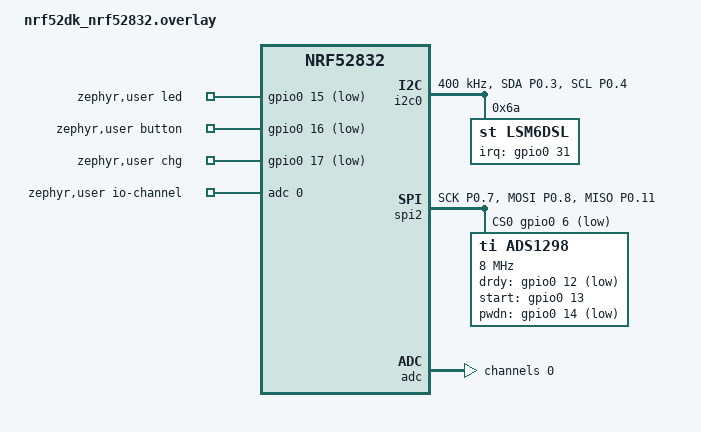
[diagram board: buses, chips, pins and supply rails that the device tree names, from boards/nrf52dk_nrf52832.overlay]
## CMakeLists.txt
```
# neurband rev C firmware: nRF52832-QFAA + one ADS1298, BLE streaming. See docs/firmware_c.md.
#   west build -b nrf52dk/nrf52832 firmware_c        (boards/nrf52dk_nrf52832.overlay is applied automatically)
cmake_minimum_required(VERSION 3.20.0)

# The DK board definition turns on the nRF52 DC/DC regulator. Rev C has no DCC inductor and
# must stay in LDO mode. Zephyr >= 4.0 does that in devicetree (overlay, &reg). Zephyr 3.7
# (NCS 2.x) uses Kconfig instead, so add zephyr37.conf there. west exports ZEPHYR_BASE.
if(EXISTS "$ENV{ZEPHYR_BASE}/VERSION")
  file(STRINGS "$ENV{ZEPHYR_BASE}/VERSION" _zmajor REGEX "^VERSION_MAJOR")
  if(_zmajor MATCHES "= *3$")
    list(APPEND EXTRA_CONF_FILE ${CMAKE_CURRENT_LIST_DIR}/zephyr37.conf)
  endif()
  # nRF Connect SDK: SoftDevice Controller throughput settings (symbols don't exist upstream)
  if(EXISTS "$ENV{ZEPHYR_BASE}/../nrf/subsys/bluetooth/controller/Kconfig")
    list(APPEND EXTRA_CONF_FILE ${CMAKE_CURRENT_LIST_DIR}/sdc.conf)
  endif()
endif()

find_package(Zephyr REQUIRED HINTS $ENV{ZEPHYR_BASE})
project(neurband_c)

target_sources(app PRIVATE src/main.c src/ble.c src/acq.c src/ads1298.c src/dsp.c src/imu.c)
```

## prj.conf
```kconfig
# neurband rev C. Works on upstream Zephyr (>= 3.7) and nRF Connect SDK (>= 2.7).

# ---- drivers / kernel
CONFIG_GPIO=y
CONFIG_SPI=y
CONFIG_ADC=y
CONFIG_I2C=y
# LSM6DSL is driven by src/imu.c; keep Zephyr's sensor driver from claiming it
CONFIG_LSM6DSL=n
CONFIG_FPU=y
CONFIG_FPU_SHARING=y
CONFIG_POWEROFF=y
CONFIG_PM_DEVICE=y
CONFIG_MAIN_STACK_SIZE=2048
CONFIG_SYSTEM_WORKQUEUE_STACK_SIZE=1536

# ---- console/log over SEGGER RTT through the SWD probe. The board has no UART and the DK's
# UART pins (P0.06/P0.08) are SPI here.
CONFIG_SERIAL=n
CONFIG_UART_CONSOLE=n
CONFIG_CONSOLE=y
CONFIG_USE_SEGGER_RTT=y
CONFIG_RTT_CONSOLE=y
CONFIG_LOG=y
CONFIG_LOG_BACKEND_RTT=y

# ---- clocks: no 32.768 kHz crystal on the board -> calibrated LFRC (+-500 ppm sleep clock)
CONFIG_CLOCK_CONTROL_NRF_K32SRC_RC=y
CONFIG_CLOCK_CONTROL_NRF_K32SRC_500PPM=y

# ---- Bluetooth LE peripheral, high throughput (docs/firmware_c.md "Throughput budget")
CONFIG_BT=y
CONFIG_BT_PERIPHERAL=y
CONFIG_BT_DEVICE_NAME="neurband"
CONFIG_BT_MAX_CONN=1
CONFIG_BT_GATT_CLIENT=y
CONFIG_BT_USER_PHY_UPDATE=y
CONFIG_BT_USER_DATA_LEN_UPDATE=y
CONFIG_BT_CTLR_PHY_2M=y
CONFIG_BT_CTLR_DATA_LENGTH_MAX=251
CONFIG_BT_BUF_ACL_TX_SIZE=251
CONFIG_BT_BUF_ACL_RX_SIZE=251
CONFIG_BT_BUF_ACL_TX_COUNT=8
CONFIG_BT_L2CAP_TX_MTU=247
CONFIG_BT_CONN_TX_MAX=8
# connection interval 7.5-15 ms (units of 1.25 ms), no latency, 4 s supervision timeout
CONFIG_BT_PERIPHERAL_PREF_MIN_INT=6
CONFIG_BT_PERIPHERAL_PREF_MAX_INT=12
CONFIG_BT_PERIPHERAL_PREF_LATENCY=0
CONFIG_BT_PERIPHERAL_PREF_TIMEOUT=400
CONFIG_BT_GAP_AUTO_UPDATE_CONN_PARAMS=y
```

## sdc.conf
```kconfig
# nRF Connect SDK only (added by CMakeLists.txt when the SoftDevice Controller is present).
# More LL TX buffers and long connection events let several 251-byte PDUs go out per event.
CONFIG_BT_CTLR_SDC_TX_PACKET_COUNT=10
CONFIG_BT_CTLR_SDC_RX_PACKET_COUNT=3
CONFIG_BT_CTLR_SDC_MAX_CONN_EVENT_LEN_DEFAULT=7500
CONFIG_BT_CTLR_SDC_CONN_EVENT_EXTEND_DEFAULT=y
```

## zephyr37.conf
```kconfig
# Only for Zephyr 3.7 / NCS 2.x (added by CMakeLists.txt). Newer versions use devicetree for this.
# Rev C has no DCC inductor: DC/DC must stay off (the nrf52dk board enables it by default).
CONFIG_BOARD_ENABLE_DCDC=n
# SPIM (EasyDMA) on nRF52832. The driver never issues 1-byte transfers (PAN 58), see ads1298.c.
CONFIG_SOC_NRF52832_ALLOW_SPIM_DESPITE_PAN_58=y
```

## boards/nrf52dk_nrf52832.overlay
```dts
/*
 * neurband rev C on the nrf52dk/nrf52832 board definition. Same SoC (nRF52832-QFAA, 32 MHz
 * crystal); everything the DK wires differently is remapped or disabled here.
 * Pin source of truth: boards/neurband_c/gen_c_sch.py (GPIO = {...}).
 *
 * HFXO: the nRF52832 has no internal load capacitors. Y1 (8 pF CL) uses the external 12 pF
 * pair on the board, so nothing is set here. The BLE controller starts the HFXO for every
 * radio event. There is no 32.768 kHz crystal: prj.conf selects the calibrated LFRC.
 */
#include <zephyr/dt-bindings/adc/adc.h>
#include <zephyr/dt-bindings/adc/nrf-saadc.h>

/ {
	chosen {
		/delete-property/ zephyr,console;
		/delete-property/ zephyr,shell-uart;
		/delete-property/ zephyr,uart-mcumgr;
		/delete-property/ zephyr,bt-mon-uart;
		/delete-property/ zephyr,bt-c2h-uart;
	};

	/* The DK LEDs/buttons/PWM LED sit on our START, PWDN, LED, BUTTON and CHG_N pins. */
	aliases {
		/delete-property/ led0;
		/delete-property/ led1;
		/delete-property/ led2;
		/delete-property/ led3;
		/delete-property/ pwm-led0;
		/delete-property/ sw0;
		/delete-property/ sw1;
		/delete-property/ sw2;
		/delete-property/ sw3;
		/delete-property/ mcuboot-button0;
		/delete-property/ mcuboot-led0;
	};
	/delete-node/ leds;
	/delete-node/ pwmleds;
	/delete-node/ buttons;

	zephyr,user {
		led-gpios = <&gpio0 15 GPIO_ACTIVE_LOW>;		/* D1 from +3V3 via 1k into the pin */
		button-gpios = <&gpio0 16 (GPIO_PULL_UP | GPIO_ACTIVE_LOW)>;	/* SW1 to GND */
		chg-gpios = <&gpio0 17 (GPIO_PULL_UP | GPIO_ACTIVE_LOW)>;	/* TP4054 CHRG, open drain */
		io-channels = <&adc 0>;					/* VBAT/2 on AIN4 (P0.28, U1 pin 40) */
	};
};

#ifdef NRF5X_REG_MODE_LDO
/* Zephyr >= 4.0: no DCC inductor on rev C, keep the main regulator in LDO mode. */
&reg {
	regulator-initial-mode = <NRF5X_REG_MODE_LDO>;
};
#endif

&uart0 {
	status = "disabled";
};

/* IMU: ST LSM6DSL on TWI0 (SA0 low -> 0x6A, CS high = I2C mode). IMU pins live only here:
 * I2C_SDA P0.03, I2C_SCL P0.04 (kept off the near-radio pins P0.22-P0.24 bank), IMU_INT (INT1) P0.31. The app drives its registers directly;
 * CONFIG_LSM6DSL=n (prj.conf) keeps Zephyr's own lsm6dsl driver out. CONFIG_SENSOR itself is on:
 * the LFRC calibration selects it for the die temperature sensor (TEMP_NRF5). */
&i2c0 {
	compatible = "nordic,nrf-twi";
	status = "okay";
	clock-frequency = <I2C_BITRATE_FAST>;
	pinctrl-0 = <&i2c0_nb_default>;
	pinctrl-1 = <&i2c0_nb_sleep>;
	pinctrl-names = "default", "sleep";

	lsm6dsl: lsm6dsl@6a {
		compatible = "st,lsm6dsl";
		reg = <0x6a>;
		irq-gpios = <&gpio0 31 GPIO_ACTIVE_HIGH>;
	};
};

&spi1 {
	status = "disabled";
};

&pwm0 {
	status = "disabled";
};

&pinctrl {
	i2c0_nb_default: i2c0_nb_default {
		group1 {
			psels = <NRF_PSEL(TWIM_SDA, 0, 3)>,
				<NRF_PSEL(TWIM_SCL, 0, 4)>;
		};
	};

	i2c0_nb_sleep: i2c0_nb_sleep {
		group1 {
			psels = <NRF_PSEL(TWIM_SDA, 0, 3)>,
				<NRF_PSEL(TWIM_SCL, 0, 4)>;
			low-power-enable;
		};
	};

	spi2_nb_default: spi2_nb_default {
		group1 {
			psels = <NRF_PSEL(SPIM_SCK, 0, 7)>,
				<NRF_PSEL(SPIM_MOSI, 0, 8)>,
				<NRF_PSEL(SPIM_MISO, 0, 11)>;
		};
	};

	spi2_nb_sleep: spi2_nb_sleep {
		group1 {
			psels = <NRF_PSEL(SPIM_SCK, 0, 7)>,
				<NRF_PSEL(SPIM_MOSI, 0, 8)>,
				<NRF_PSEL(SPIM_MISO, 0, 11)>;
			low-power-enable;
		};
	};
};

/* SPIM2 (EasyDMA), mode 1. Register access runs at 1 MHz, frame reads at 8 MHz (ads1298.c). */
&spi2 {
	compatible = "nordic,nrf-spim";
	status = "okay";
	pinctrl-0 = <&spi2_nb_default>;
	pinctrl-1 = <&spi2_nb_sleep>;
	pinctrl-names = "default", "sleep";
	cs-gpios = <&gpio0 6 GPIO_ACTIVE_LOW>;

	ads1298: adc@0 {
		compatible = "ti,ads1298";
		reg = <0>;
		spi-max-frequency = <8000000>;
		drdy-gpios = <&gpio0 12 GPIO_ACTIVE_LOW>;
		start-gpios = <&gpio0 13 GPIO_ACTIVE_HIGH>;
		pwdn-gpios = <&gpio0 14 GPIO_ACTIVE_LOW>;
	};
};

/* Battery: VBAT/2 (1M/1M + 100 nF) on P0.28/AIN4. Gain 1/6 with the 0.6 V reference = 3.6 V
 * full scale; the 100 nF holds the node during the 40 us acquisition. */
&adc {
	#address-cells = <1>;
	#size-cells = <0>;
	status = "okay";

	channel@0 {
		reg = <0>;
		zephyr,gain = "ADC_GAIN_1_6";
		zephyr,reference = "ADC_REF_INTERNAL";
		zephyr,acquisition-time = <ADC_ACQ_TIME(ADC_ACQ_TIME_MICROSECONDS, 40)>;
		zephyr,input-positive = <NRF_SAADC_AIN4>;
		zephyr,resolution = <12>;
		zephyr,oversampling = <4>;
	};
};
```

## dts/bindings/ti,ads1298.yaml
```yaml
description: |
  TI ADS1298 8-channel 24-bit biopotential AFE on SPI (mode 1). The driver is part of the
  neurband application (src/ads1298.c); this binding only describes the pins.

compatible: "ti,ads1298"

include: spi-device.yaml

properties:
  drdy-gpios:
    type: phandle-array
    required: true
    description: DRDY output of the ADS1298 (active low, falls when a frame is ready).
  start-gpios:
    type: phandle-array
    required: true
    description: START input (active high, conversions run while high).
  pwdn-gpios:
    type: phandle-array
    required: true
    description: PWDN and RESET inputs (tied together on rev C), active low = power-down.
```

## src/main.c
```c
/* neurband rev C: control (commands, charger interlock, battery, LED, button, power).
 * Everything that touches the ADS outside streaming runs on one work queue (app_wq). */
#include <stdlib.h>
#include <string.h>
#include <zephyr/drivers/adc.h>
#include <zephyr/drivers/gpio.h>
#include <zephyr/kernel.h>
#include <zephyr/logging/log.h>
#include <zephyr/sys/poweroff.h>
#include <zephyr/sys/printk.h>

#include "ads1298.h"
#include "app.h"

LOG_MODULE_REGISTER(main, LOG_LEVEL_INF);

#define IDLE_OFF_S     (5 * 60) /* System OFF after 5 min not connected and not streaming */
#define LONG_PRESS_MS  3000     /* hold the button 3 s: System OFF */
#define VBAT_LOW_MV    3500     /* warn (LED, flag): the 3.3 V LDO is near dropout */
#define VBAT_CRIT_MV   3300     /* stop and power off after 3 readings in a row */

#define USER_NODE DT_PATH(zephyr_user)
static const struct gpio_dt_spec led = GPIO_DT_SPEC_GET(USER_NODE, led_gpios);
static const struct gpio_dt_spec button = GPIO_DT_SPEC_GET(USER_NODE, button_gpios);
static const struct gpio_dt_spec chg = GPIO_DT_SPEC_GET(USER_NODE, chg_gpios);
static const struct adc_dt_spec vbat_adc = ADC_DT_SPEC_GET(USER_NODE);

struct nb_cfg cfg = {
	.rate = 4000, .gain = 6, .fmt = FMT_I16, .hp_idx = 0, .mux = ADS_MUX_NORMAL,
	.leadoff = false, .rld_mask = 0x0F, /* channels 1-4 (P and N) = 8 sensed inputs: 57 deg phase margin with 1M||4.7nF (docs/science/simulations.md) */
};

static K_THREAD_STACK_DEFINE(app_wq_stack, 2048);
static struct k_work_q app_wq;
K_MSGQ_DEFINE(cmd_q, 40, 4, 1);

static volatile bool charging, low_bat, connected_flag;
static volatile uint16_t vbat_mv;
static int verify_err = -1, idle_s, crit_count;
static char last[24] = "boot";

bool app_charging(void) { return charging; }
bool app_low_battery(void) { return low_bat; }
uint16_t app_vbat_mv(void) { return vbat_mv; }

/* ------------------------------------------------------------------ LED patterns */
/* 50 ms ticks over a 2 s cycle; bit i = LED on in tick i */
#define PAT(...) (pat_bits((const uint8_t[]){__VA_ARGS__, 0xFF}))
static uint64_t pat_bits(const uint8_t *t)
{
	uint64_t m = 0;

	for (; *t != 0xFF; t++) {
		m |= 1ULL << *t;
	}
	return m;
}
static uint64_t led_pat;
static uint8_t led_tick;

static void led_timer_fn(struct k_timer *t)
{
	ARG_UNUSED(t);
	gpio_pin_set_dt(&led, (int)((led_pat >> led_tick) & 1));
	led_tick = (led_tick + 1) % 40;
}
K_TIMER_DEFINE(led_timer, led_timer_fn, NULL);

static void led_update(void)
{
	if (charging) {
		led_pat = ~0ULL; /* solid while charging (charger powers it) */
	} else if (low_bat) {
		led_pat = PAT(0, 2, 4); /* triple flash every 2 s */
	} else if (acq_running()) {
		led_pat = PAT(0, 10, 20, 30); /* flash every 0.5 s */
	} else if (connected_flag) {
		led_pat = PAT(0, 3); /* double flash every 2 s */
	} else {
		led_pat = PAT(0, 20); /* advertising: flash every 1 s */
	}
}

/* ------------------------------------------------------------------ status */
static void status_publish(void)
{
	char link[48], s[STATUS_BUF_LEN];
	static const char *const mux_name[] = {[ADS_MUX_NORMAL] = "normal", [ADS_MUX_SHORT] = "short",
					       [ADS_MUX_TEST] = "test"};

	ble_link_info(link, sizeof(link));
	snprintk(s, sizeof(s),
		 "fw=%s st=%s chg=%d vbat=%u low=%d ads=0x%02x verr=%d fmt=%d rate=%u out=%u gain=%u "
		 "hp=%u mux=%s loff=%d rld=0x%02x/0x%02x imu=%d %s ovr=%u drop=%u serr=%u last=%s",
		 FW_VERSION, acq_running() ? "stream" : ads_is_powered() ? "ready" : "off", charging,
		 vbat_mv, low_bat, ads_id(), verify_err, cfg.fmt == FMT_I16 ? 16 : 24,
		 cfg_ads_rate(&cfg), cfg.fmt == FMT_I16 ? 2000 : cfg.rate, cfg.gain,
		 cfg.fmt == FMT_I16 ? (cfg.hp_idx ? 40 : 20) : 0, mux_name[cfg.mux], cfg.leadoff,
		 cfg.rld_mask, acq_rld_active(), imu_present(), link, acq_overruns(), acq_drops(),
		 acq_status_errors(), last);
	ble_set_status(s);
}

/* ------------------------------------------------------------------ AFE control */
static int afe_apply(void)
{
	const struct ads_settings s = {
		.rate = cfg_ads_rate(&cfg), .gain = cfg.gain, .mux = cfg.mux,
		.leadoff = cfg.leadoff, .rld_mask = cfg.rld_mask,
	};

	verify_err = ads_configure(&s);
	return verify_err;
}

static int afe_on(void)
{
	if (charging) {
		return -EACCES; /* interlock: never power the AFE while the charger is connected */
	}
	if (ads_is_powered()) {
		return 0;
	}
	int err = ads_power_up();

	afe_apply();
	return err;
}

static void afe_off(void)
{
	acq_stop();
	ads_power_down();
}

/* Change settings: stop, write registers, resume if it was streaming. */
static void reconfigure(void)
{
	bool was = acq_running();

	acq_stop();
	if (ads_is_powered()) {
		afe_apply();
	}
	if (was) {
		acq_start(ble_max_payload());
	}
}

static void power_off(void);

static void handle(char *line)
{
	char *arg = strchr(line, ' ');
	int err = 0;

	if (arg) {
		*arg++ = '\0';
	}
	if (!strcmp(line, "start")) {
		err = afe_on();
		if (err == 0) {
			err = acq_start(ble_max_payload());
		}
	} else if (!strcmp(line, "stop")) {
		acq_stop();
	} else if (!strcmp(line, "rate") && arg && (atoi(arg) == 2000 || atoi(arg) == 4000)) {
		cfg.rate = (uint16_t)atoi(arg); /* raw 24-bit stream only */
		reconfigure();
	} else if (!strcmp(line, "gain") && arg && ads_gain_ok((uint8_t)atoi(arg))) {
		cfg.gain = (uint8_t)atoi(arg);
		reconfigure();
	} else if (!strcmp(line, "fmt") && arg && (atoi(arg) == 16 || atoi(arg) == 24)) {
		cfg.fmt = atoi(arg) == 16 ? FMT_I16 : FMT_I24;
		reconfigure();
	} else if (!strcmp(line, "hp") && arg && (atoi(arg) == 20 || atoi(arg) == 40)) {
		cfg.hp_idx = atoi(arg) == 40;
		reconfigure();
	} else if ((!strcmp(line, "test") || !strcmp(line, "short")) && arg &&
		   (!strcmp(arg, "on") || !strcmp(arg, "off"))) {
		cfg.mux = !strcmp(arg, "off") ? ADS_MUX_NORMAL
			  : !strcmp(line, "test") ? ADS_MUX_TEST : ADS_MUX_SHORT;
		reconfigure();
	} else if (!strcmp(line, "leadoff") && arg && (!strcmp(arg, "on") || !strcmp(arg, "off"))) {
		cfg.leadoff = !strcmp(arg, "on");
		reconfigure();
	} else if (!strcmp(line, "rld") && arg) {
		cfg.rld_mask = (uint8_t)strtoul(arg, NULL, 0); /* e.g. "rld 0x03", "rld 0" */
		reconfigure();
	} else if (!strcmp(line, "status")) {
		/* just refresh */
	} else if (!strcmp(line, "off")) {
		power_off();
	} else {
		err = -EINVAL;
	}
	/* "err:" + at most 19 chars of the command: the label is cut on purpose */
	snprintk(last, sizeof(last), "%s:%.*s", err ? "err" : "ok", (int)sizeof(last) - 5, line);
	if (err) {
		LOG_WRN("command '%s' failed (%d)", line, err);
	}
	led_update();
	status_publish();
}

static void cmd_work_fn(struct k_work *w)
{
	char line[40];

	ARG_UNUSED(w);
	while (k_msgq_get(&cmd_q, line, K_NO_WAIT) == 0) {
		handle(line);
	}
}
static K_WORK_DEFINE(cmd_work, cmd_work_fn);

void app_command(const char *cmd, size_t len)
{
	char line[40];

	len = MIN(len, sizeof(line) - 1);
	memcpy(line, cmd, len);
	line[len] = '\0';
	for (size_t i = 0; i < len; i++) { /* tolerate "start\n" */
		if (line[i] == '\r' || line[i] == '\n') {
			line[i] = '\0';
		}
	}
	if (k_msgq_put(&cmd_q, line, K_NO_WAIT) == 0) {
		k_work_submit_to_queue(&app_wq, &cmd_work);
	}
}

static void conn_work_fn(struct k_work *w)
{
	ARG_UNUSED(w);
	if (connected_flag) {
		afe_on(); /* ~0.6 s; status shows the ADS ID right after connecting */
	} else {
		afe_off();
	}
	led_update();
	status_publish();
}
static K_WORK_DEFINE(conn_work, conn_work_fn);

void app_on_connect(void)
{
	connected_flag = true;
	idle_s = 0;
	k_work_submit_to_queue(&app_wq, &conn_work);
}

void app_on_disconnect(void)
{
	connected_flag = false;
	k_work_submit_to_queue(&app_wq, &conn_work);
}

/* ------------------------------------------------------------------ charger interlock */
static void chg_work_fn(struct k_work *w)
{
	ARG_UNUSED(w);
	bool now = gpio_pin_get_dt(&chg) == 1;

	if (now != charging) {
		charging = now;
		LOG_INF("charger %s", now ? "connected" : "removed");
	}
	if (charging) {
		afe_off(); /* safety interlock: AFE powered down, no streaming while charging */
	} else if (connected_flag && !ads_is_powered()) {
		afe_on();
	}
	led_update();
	status_publish();
}
static K_WORK_DEFINE(chg_work, chg_work_fn);
static struct gpio_callback chg_cb;

static void chg_isr(const struct device *d, struct gpio_callback *cb, uint32_t pins)
{
	ARG_UNUSED(d);
	ARG_UNUSED(cb);
	ARG_UNUSED(pins);
	charging = gpio_pin_get_dt(&chg) == 1; /* block streaming at once, then clean up */
	k_work_submit_to_queue(&app_wq, &chg_work);
}

/* ------------------------------------------------------------------ button */
static bool btn_down;
static void long_work_fn(struct k_work *w)
{
	ARG_UNUSED(w);
	if (gpio_pin_get_dt(&button) == 1) {
		power_off();
	}
}
static K_WORK_DELAYABLE_DEFINE(long_work, long_work_fn);

static void btn_work_fn(struct k_work *w)
{
	ARG_UNUSED(w);
	bool pressed = gpio_pin_get_dt(&button) == 1;

	if (pressed && !btn_down) {
		if (acq_running()) {
			acq_marker(); /* PF_MARKER in the next packet */
		}
		idle_s = 0;
		k_work_reschedule_for_queue(&app_wq, &long_work, K_MSEC(LONG_PRESS_MS));
	} else if (!pressed && btn_down) {
		k_work_cancel_delayable(&long_work);
	}
	btn_down = pressed;
}
static K_WORK_DELAYABLE_DEFINE(btn_work, btn_work_fn);
static struct gpio_callback btn_cb;

static void btn_isr(const struct device *d, struct gpio_callback *cb, uint32_t pins)
{
	ARG_UNUSED(d);
	ARG_UNUSED(cb);
	ARG_UNUSED(pins);
	k_work_reschedule_for_queue(&app_wq, &btn_work, K_MSEC(20)); /* debounce */
}

/* ------------------------------------------------------------------ battery */
static void vbat_read(void)
{
	int16_t raw = 0;
	struct adc_sequence seq = {.buffer = &raw, .buffer_size = sizeof(raw)};

	adc_sequence_init_dt(&vbat_adc, &seq);
	if (adc_read(vbat_adc.dev, &seq) != 0) {
		return;
	}
	int32_t mv = MAX(raw, 0);

	adc_raw_to_millivolts_dt(&vbat_adc, &mv);
	vbat_mv = (uint16_t)(mv * 2); /* 1M/1M divider */
	low_bat = vbat_mv < VBAT_LOW_MV;
	crit_count = vbat_mv < VBAT_CRIT_MV ? crit_count + 1 : 0;
}

/* ------------------------------------------------------------------ 1 s tick */
static void tick_fn(struct k_work *w);
static K_WORK_DELAYABLE_DEFINE(tick_work, tick_fn);

static void tick_fn(struct k_work *w)
{
	static int n;

	ARG_UNUSED(w);
	if (n++ % 5 == 0) {
		vbat_read();
		status_publish();
	}
	if (crit_count >= 3 && !charging) {
		LOG_WRN("battery critical (%u mV)", vbat_mv);
		power_off();
	}
	k_work_submit_to_queue(&app_wq, &chg_work); /* poll as well as the interrupt */
	if (!connected_flag && !acq_running() && !charging) {
		if (++idle_s >= IDLE_OFF_S) {
			power_off();
		}
	} else {
		idle_s = 0;
	}
	led_update();
	k_work_reschedule_for_queue(&app_wq, &tick_work, K_SECONDS(1));
}

/* ------------------------------------------------------------------ System OFF */
static void power_off(void)
{
	LOG_INF("System OFF");
	acq_stop();
	ads_prepare_off(); /* ADS in power-down (PWDN/RESET low, retained in System OFF) */
	k_timer_stop(&led_timer);
	gpio_pin_set_dt(&led, 1);
	k_msleep(500);
	gpio_pin_set_dt(&led, 0);
	/* Wake sources must be inactive now, or the chip wakes up at once. */
	while (gpio_pin_get_dt(&button) == 1) {
		k_msleep(20);
	}
	gpio_pin_interrupt_configure_dt(&button, GPIO_INT_LEVEL_ACTIVE); /* SENSE low */
	if (gpio_pin_get_dt(&chg) == 0) {
		gpio_pin_interrupt_configure_dt(&chg, GPIO_INT_LEVEL_ACTIVE); /* wake on charger */
	} else {
		gpio_pin_interrupt_configure_dt(&chg, GPIO_INT_DISABLE);
	}
	sys_poweroff();
}

int main(void)
{
	k_work_queue_start(&app_wq, app_wq_stack, K_THREAD_STACK_SIZEOF(app_wq_stack),
			   K_PRIO_PREEMPT(4), NULL);

	gpio_pin_configure_dt(&led, GPIO_OUTPUT_INACTIVE);
	if (acq_init() != 0) {
		LOG_ERR("ADS1298 SPI/GPIO not ready");
	}
	gpio_pin_configure_dt(&button, GPIO_INPUT);
	gpio_pin_configure_dt(&chg, GPIO_INPUT);
	gpio_init_callback(&btn_cb, btn_isr, BIT(button.pin));
	gpio_add_callback(button.port, &btn_cb);
	gpio_pin_interrupt_configure_dt(&button, GPIO_INT_EDGE_BOTH);
	gpio_init_callback(&chg_cb, chg_isr, BIT(chg.pin));
	gpio_add_callback(chg.port, &chg_cb);
	gpio_pin_interrupt_configure_dt(&chg, GPIO_INT_EDGE_BOTH);
	charging = gpio_pin_get_dt(&chg) == 1;
	btn_down = gpio_pin_get_dt(&button) == 1; /* the wake press is not a marker */

	if (adc_is_ready_dt(&vbat_adc) && adc_channel_setup_dt(&vbat_adc) == 0) {
		vbat_read();
	}
	for (int i = 0; i < 3; i++) { /* hello: three quick flashes */
		gpio_pin_set_dt(&led, 1);
		k_msleep(60);
		gpio_pin_set_dt(&led, 0);
		k_msleep(120);
	}
	ble_init();
	led_update();
	k_timer_start(&led_timer, K_MSEC(50), K_MSEC(50));
	k_work_reschedule_for_queue(&app_wq, &tick_work, K_SECONDS(1));
	LOG_INF("neurband %s up, vbat %u mV, charging %d", FW_VERSION, vbat_mv, charging);
	return 0;
}
```

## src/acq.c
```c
/* Acquisition pipeline:
 *   DRDY falling edge (ISR) -> acq thread: read the 27-byte frame over SPI (EasyDMA) into a
 *   frame ring -> proc thread: DSP + packetizing -> packet queue -> BLE TX thread (ble.c).
 * Every stage counts what it loses; the sample index in each packet header always jumps
 * over lost frames, so the host sees every gap. */
#include <string.h>
#include <zephyr/kernel.h>
#include <zephyr/logging/log.h>
#include <zephyr/sys/atomic.h>
#include <zephyr/sys/byteorder.h>

#include "ads1298.h"
#include "app.h"
#include "dsp.h"
#include "packet.h"

LOG_MODULE_REGISTER(acq, LOG_LEVEL_INF);

#define RING_N 64  /* frames: 16 ms at 4 kSPS */
#define PKTQ_N 20  /* packets: ~140 ms of the default stream (RAM: 64 KB total) */

struct frame {
	uint32_t idx; /* ADS conversion index since start (counts missed DRDYs too) */
	uint8_t d[ADS_FRAME_BYTES];
};
struct pkt_item {
	uint16_t len;
	uint8_t d[PKT_MAX_LEN];
};

static struct frame ring[RING_N];
static atomic_t ring_head, ring_tail; /* single producer (acq), single consumer (proc) */
K_MSGQ_DEFINE(pkt_q, sizeof(struct pkt_item), PKTQ_N, 4);
static K_SEM_DEFINE(drdy_sem, 0, K_SEM_MAX_LIMIT);
static K_SEM_DEFINE(proc_sem, 0, K_SEM_MAX_LIMIT);
static K_MUTEX_DEFINE(ads_mtx);

static atomic_t running, marker, overruns, drops, status_errs;
static atomic_t rld_req; /* 0x100 | mask: new RLD sense set to apply between frames */
static uint8_t rld_active;
static uint32_t ads_idx;

/* packetizer state (proc thread only) */
static struct pkt_item cur;
static uint8_t cur_n, n_max, bps, pkt_flags, pkt_lp, pkt_ln;
static uint32_t next_out;
static atomic_t seq, drdy_edges; /* seq: shared by the proc and IMU threads */
static bool gap;
/* per-second diagnostics */
static uint32_t diag_count;
static uint8_t sec_lp, sec_ln, sec_rail, sec_clip, good_secs[8];

static void drdy_handler(void)
{
	atomic_inc(&drdy_edges);
	k_sem_give(&drdy_sem);
}

static void acq_thread(void *a, void *b, void *c)
{
	ARG_UNUSED(a);
	ARG_UNUSED(b);
	ARG_UNUSED(c);
	static uint8_t scratch[ADS_FRAME_BYTES];

	for (;;) {
		k_sem_take(&drdy_sem, K_FOREVER);
		if (!atomic_get(&running)) {
			continue;
		}
		/* More DRDY edges pending = we were late; the ADS kept only the newest frame. */
		unsigned int behind = k_sem_count_get(&drdy_sem);

		if (behind) {
			k_sem_reset(&drdy_sem);
			ads_idx += behind;
			atomic_add(&overruns, behind);
		}
		atomic_val_t h = atomic_get(&ring_head);
		bool full = (uint32_t)(h - atomic_get(&ring_tail)) >= RING_N;
		struct frame *f = &ring[(uint32_t)h % RING_N];

		k_mutex_lock(&ads_mtx, K_FOREVER);
		if (atomic_get(&running)) {
			ads_read_frame(full ? scratch : f->d);
			atomic_val_t r = atomic_clear(&rld_req);

			if (r & 0x100) {
				ads_set_rld_streaming((uint8_t)r);
				rld_active = (uint8_t)r;
			}
		}
		k_mutex_unlock(&ads_mtx);
		if (full) {
			atomic_inc(&overruns);
		} else {
			f->idx = ads_idx;
			atomic_set(&ring_head, h + 1);
			k_sem_give(&proc_sem);
		}
		ads_idx++;
	}
}

static uint8_t pkt_cfg(void)
{
	uint8_t c = cfg.gain & 0x0F;

	if (cfg.fmt == FMT_I24) {
		c |= cfg.rate == 4000 ? PCFG_RATE4K : 0;
	} else {
		c |= (uint8_t)((cfg.hp_idx + 1) << PCFG_HP_SHIFT);
	}
	return c;
}

static uint8_t common_flags(void)
{
	uint8_t f = 0;

	f |= cfg.leadoff ? PF_LOFF_EN : 0;
	f |= cfg.mux != ADS_MUX_NORMAL ? PF_TEST : 0;
	f |= app_charging() ? PF_CHARGING : 0;
	f |= app_low_battery() ? PF_LOWBAT : 0;
	return f;
}

static void queue_packet(struct pkt_item *p, uint8_t type, uint8_t n, uint32_t sample,
			 uint8_t flags, uint8_t lp, uint8_t ln, uint16_t body_len)
{
	struct pkt_hdr h = {
		.seq = sys_cpu_to_le16((uint16_t)atomic_inc(&seq)),
		.sample = sys_cpu_to_le32(sample),
		.type = type,
		.n = n,
		.flags = flags | common_flags() | ((lp | ln) ? PF_LOFF_ANY : 0),
		.cfg = pkt_cfg(),
		.loff_p = lp,
		.loff_n = ln,
	};

	memcpy(p->d, &h, sizeof(h));
	p->len = PKT_HDR_LEN + body_len;
	if (k_msgq_put(&pkt_q, p, K_NO_WAIT) != 0) {
		atomic_inc(&drops); /* seq already advanced: the host sees the gap */
	}
}

void acq_queue_packet(uint8_t type, uint8_t n, uint32_t sample, uint8_t flags, uint8_t lp,
		      uint8_t ln, const void *body, uint16_t body_len)
{
	static struct pkt_item it; /* only the IMU thread calls this */

	memcpy(&it.d[PKT_HDR_LEN], body, MIN(body_len, PKT_MAX_LEN - PKT_HDR_LEN));
	queue_packet(&it, type, n, sample, flags, lp, ln, body_len);
}

uint32_t acq_sample_now(void)
{
	uint32_t e = (uint32_t)atomic_get(&drdy_edges);

	e = e ? e - 1 : 0;
	return cfg.fmt == FMT_I16 ? e >> 1 : e;
}

static void flush(void)
{
	if (cur_n == 0) {
		return;
	}
	uint8_t f = pkt_flags | (gap ? PF_MISSED : 0);

	if (atomic_clear(&marker)) {
		f |= PF_MARKER;
	}
	queue_packet(&cur, cfg.fmt == FMT_I16 ? PKT_I16 : PKT_I24, cur_n, next_out - cur_n, f,
		     pkt_lp, pkt_ln, (uint16_t)(cur_n * bps));
	cur_n = 0;
	pkt_flags = pkt_lp = pkt_ln = 0;
	gap = false;
}

static void add_sample(uint32_t out_idx, const void *data, uint8_t clip)
{
	if (out_idx != next_out && (cur_n || atomic_get(&seq))) {
		flush();    /* the header index must describe contiguous samples */
		gap = true; /* ... and the next packet starts after lost frames */
	}
	memcpy(&cur.d[PKT_HDR_LEN + cur_n * bps], data, bps);
	cur_n++;
	next_out = out_idx + 1;
	pkt_flags |= clip ? PF_CLIP : 0;
	sec_clip |= clip;
	if (cur_n == n_max) {
		flush();
	}
}

static void send_diag(void)
{
	static struct pkt_item d;
	struct pkt_diag body = {0};
	int32_t dc[8];

	dsp_dc(dc);
	for (int c = 0; c < 8; c++) {
		body.dc[c] = (int32_t)sys_cpu_to_le32(dc[c]);
	}
	body.rail = sec_rail;
	body.clip = sec_clip;
	body.rld_cfg = cfg.rld_mask;
	body.rld_active = rld_active;
	body.vbat_mv = sys_cpu_to_le16(app_vbat_mv());
	body.overruns = sys_cpu_to_le16((uint16_t)MIN(atomic_get(&overruns), 0xFFFF));
	body.drops = sys_cpu_to_le16((uint16_t)MIN(atomic_get(&drops), 0xFFFF));
	body.status_err = sys_cpu_to_le16((uint16_t)MIN(atomic_get(&status_errs), 0xFFFF));
	memcpy(&d.d[PKT_HDR_LEN], &body, sizeof(body));
	queue_packet(&d, PKT_DIAG, 0, next_out, 0, sec_lp, sec_ln, sizeof(body));

	/* Bias loop: drop channels with lead-off from the RLD sense set at once, re-add a
	 * channel after 3 clean seconds (docs/science/signal_chain.md section 3). Lead-off
	 * status is only meaningful with lead-off detection on. */
	if (cfg.leadoff) {
		uint8_t bad = sec_lp | sec_ln, want = 0;

		for (int c = 0; c < 8; c++) {
			good_secs[c] = (bad & BIT(c)) ? 0 : MIN(good_secs[c] + 1, 255);
			if ((cfg.rld_mask & BIT(c)) && good_secs[c] >= 3) {
				want |= BIT(c);
			}
		}
		want = (rld_active & ~bad) | want;
		want &= cfg.rld_mask;
		if (want != rld_active) {
			LOG_INF("RLD sense 0x%02x -> 0x%02x", rld_active, want);
			atomic_set(&rld_req, 0x100 | want);
		}
	}
	sec_lp = sec_ln = sec_rail = sec_clip = 0;
}

static void process(const struct frame *f)
{
	const uint8_t *d = f->d;
	int32_t x[8];
	uint8_t rail = 0, clip = 0;

	/* status word (9.4.1.3): 1100 | LOFF_STATP[7:0] | LOFF_STATN[7:0] | GPIO[7:4] */
	if ((d[0] & 0xF0) != 0xC0) {
		atomic_inc(&status_errs);
	}
	uint8_t lp = (uint8_t)((d[0] << 4) | (d[1] >> 4));
	uint8_t ln = (uint8_t)((d[1] << 4) | (d[2] >> 4));

	for (int c = 0; c < 8; c++) {
		const uint8_t *p = &d[3 + 3 * c];
		int32_t v = (int32_t)(((uint32_t)p[0] << 24) | ((uint32_t)p[1] << 16) | ((uint32_t)p[2] << 8)) >> 8;

		x[c] = v;
		if (v >= 7969178 || v <= -7969178) { /* 95 % of 2^23 */
			rail |= BIT(c);
		}
	}
	sec_lp |= lp;
	sec_ln |= ln;
	sec_rail |= rail;
	pkt_flags |= rail ? PF_CLIP : 0;
	pkt_lp |= lp;
	pkt_ln |= ln;

	if (cfg.fmt == FMT_I16) {
		int16_t out[8];

		if (dsp_push(x, f->idx, true, out, &clip)) {
			for (int c = 0; c < 8; c++) {
				out[c] = (int16_t)sys_cpu_to_le16(out[c]);
			}
			add_sample(f->idx >> 1, out, clip);
		}
	} else {
		dsp_push(x, f->idx, false, NULL, &clip); /* DC tracker only, for diagnostics */
		add_sample(f->idx, &d[3], 0);
	}
	if (++diag_count >= cfg_ads_rate(&cfg)) { /* once per second */
		diag_count = 0;
		send_diag();
	}
}

static void proc_thread(void *a, void *b, void *c)
{
	ARG_UNUSED(a);
	ARG_UNUSED(b);
	ARG_UNUSED(c);

	for (;;) {
		k_sem_take(&proc_sem, K_FOREVER);
		while (atomic_get(&ring_tail) != atomic_get(&ring_head)) {
			atomic_val_t t = atomic_get(&ring_tail);

			if (atomic_get(&running)) {
				process(&ring[(uint32_t)t % RING_N]);
			}
			atomic_set(&ring_tail, t + 1);
		}
	}
}

/* acq above BT host threads; the radio ISRs still preempt it (frame read is ~40 us) */
K_THREAD_DEFINE(acq_tid, 1024, acq_thread, NULL, NULL, NULL, K_PRIO_COOP(2), 0, 0);
K_THREAD_DEFINE(proc_tid, 1536, proc_thread, NULL, NULL, NULL, K_PRIO_PREEMPT(1), K_FP_REGS, 0);

int acq_init(void)
{
	if (imu_init() != 0) {
		LOG_WRN("no LSM6DSL found, streaming without IMU");
	}
	return ads_init(drdy_handler);
}

int acq_start(uint16_t max_payload)
{
	if (atomic_get(&running)) {
		return 0;
	}
	bps = cfg.fmt == FMT_I16 ? 16 : 24;
	n_max = MIN((max_payload - PKT_HDR_LEN) / bps,
		    cfg.fmt == FMT_I16 ? PKT_I16_MAX_SAMPLES : PKT_I24_MAX_SAMPLES);
	if (max_payload <= PKT_HDR_LEN || n_max == 0) {
		return -EMSGSIZE; /* ATT MTU too small for even one sample */
	}
	k_msgq_purge(&pkt_q);
	atomic_set(&ring_head, 0);
	atomic_set(&ring_tail, 0);
	k_sem_reset(&drdy_sem);
	k_sem_reset(&proc_sem);
	atomic_clear(&overruns);
	atomic_clear(&drops);
	atomic_clear(&status_errs);
	atomic_clear(&marker);
	atomic_clear(&rld_req);
	ads_idx = 0;
	atomic_clear(&seq);
	atomic_clear(&drdy_edges);
	next_out = 0;
	cur_n = 0;
	pkt_flags = pkt_lp = pkt_ln = 0;
	gap = false;
	diag_count = 0;
	sec_lp = sec_ln = sec_rail = sec_clip = 0;
	memset(good_secs, 0, sizeof(good_secs));
	rld_active = cfg.rld_mask;
	dsp_reset(cfg.gain, cfg.hp_idx);
	atomic_set(&running, 1);
	imu_start();
	ads_stream_start();
	LOG_INF("streaming fmt=%d ads_rate=%u n=%u", cfg.fmt, cfg_ads_rate(&cfg), n_max);
	return 0;
}

void acq_stop(void)
{
	if (!atomic_get(&running)) {
		return;
	}
	atomic_set(&running, 0);
	imu_stop();
	k_mutex_lock(&ads_mtx, K_FOREVER); /* wait for a frame read in progress */
	ads_stream_stop();
	k_mutex_unlock(&ads_mtx);
	k_msleep(2); /* let the proc thread finish the frame it holds */
	k_msgq_purge(&pkt_q);
}

bool acq_running(void)
{
	return atomic_get(&running);
}

void acq_marker(void)
{
	atomic_set(&marker, 1);
}

uint8_t acq_rld_active(void)
{
	return atomic_get(&running) ? rld_active : cfg.rld_mask;
}

uint32_t acq_overruns(void)
{
	return atomic_get(&overruns);
}

uint32_t acq_drops(void)
{
	return atomic_get(&drops);
}

uint32_t acq_status_errors(void)
{
	return atomic_get(&status_errs);
}

int acq_get_packet(uint8_t *buf, uint16_t *len)
{
	static struct pkt_item it;

	k_msgq_get(&pkt_q, &it, K_FOREVER);
	memcpy(buf, it.d, it.len);
	*len = it.len;
	return 0;
}
```

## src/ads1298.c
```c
/* ADS1298 driver. Register values and timing: TI SBAS459K (docs/datasheets/ads1298.txt).
 * Rev C wiring: CLKSEL high (internal 2.048 MHz oscillator, CLK pin unused), PWDN and RESET
 * tied together on ADC_PWDN, RLDREF pin open, AVDD = DVDD = 3.3 V, GPIO1-4 tied to GND. */
#include "ads1298.h"

#include <errno.h>
#include <zephyr/device.h>
#include <zephyr/drivers/gpio.h>
#include <zephyr/drivers/spi.h>
#include <zephyr/kernel.h>
#include <zephyr/logging/log.h>
#include <zephyr/pm/device.h>
#include <zephyr/version.h>

#ifndef NEURBAND_RLDREF_EXTERNAL
#define NEURBAND_RLDREF_EXTERNAL 1 /* rev C: 2x1M + 1uF divider on RLDREF (pin 60) */
#endif
#define CONFIG3_VAL (NEURBAND_RLDREF_EXTERNAL ? 0xC4 : 0xCC)

LOG_MODULE_REGISTER(ads1298, LOG_LEVEL_INF);

#define ADS_NODE DT_NODELABEL(ads1298)

/* Registers (9.6, Table 15/16) and opcodes (9.5.2) */
enum {
	REG_ID = 0x00, REG_CONFIG1 = 0x01, REG_CONFIG2 = 0x02, REG_CONFIG3 = 0x03, REG_LOFF = 0x04,
	REG_CH1SET = 0x05, REG_RLD_SENSP = 0x0D, REG_RLD_SENSN = 0x0E, REG_LOFF_SENSP = 0x0F,
	REG_LOFF_SENSN = 0x10, REG_LOFF_FLIP = 0x11, REG_CONFIG4 = 0x17, REG_WCT1 = 0x18, REG_WCT2 = 0x19,
};
enum {
	OP_RESET = 0x06, OP_RDATAC = 0x10, OP_SDATAC = 0x11, OP_RREG = 0x20, OP_WREG = 0x40,
};

/* Mode 1 (CPOL 0, CPHA 1), 9.5.1. */
#define ADS_SPI_OP (SPI_WORD_SET(8) | SPI_TRANSFER_MSB | SPI_MODE_CPHA | SPI_OP_MODE_MASTER)
#if defined(ZEPHYR_VERSION_CODE) && ZEPHYR_VERSION_CODE >= ZEPHYR_VERSION(4, 3, 0)
static const struct spi_dt_spec spec = SPI_DT_SPEC_GET(ADS_NODE, ADS_SPI_OP);
#else
static const struct spi_dt_spec spec = SPI_DT_SPEC_GET(ADS_NODE, ADS_SPI_OP, 3);
#endif
static const struct gpio_dt_spec drdy = GPIO_DT_SPEC_GET(ADS_NODE, drdy_gpios);
static const struct gpio_dt_spec start = GPIO_DT_SPEC_GET(ADS_NODE, start_gpios);
static const struct gpio_dt_spec pwdn = GPIO_DT_SPEC_GET(ADS_NODE, pwdn_gpios);

/* Register access at 1 MHz: 8 us per byte is longer than the 4 tCLK (~2 us) a multi-byte
 * command needs between bytes (9.5.2.9), so no inter-byte delays. Frame reads at 8 MHz:
 * 27 bytes = 27 us of the 250 us frame at 4 kSPS (fSCLK max 20 MHz, 7.6). */
static struct spi_config cfg_slow, cfg_fast;
static struct gpio_callback drdy_cb;
static void (*drdy_fn)(void);
static bool powered;
static uint8_t chip_id;

static void drdy_isr(const struct device *dev, struct gpio_callback *cb, uint32_t pins)
{
	ARG_UNUSED(dev);
	ARG_UNUSED(cb);
	ARG_UNUSED(pins);
	drdy_fn();
}

static int xfer(const struct spi_config *c, const uint8_t *tx, uint8_t *rx, size_t n)
{
	/* n >= 2 always: nRF52832 PAN 58 clocks out an extra byte on 1-byte SPIM transfers. */
	const struct spi_buf tb = {.buf = (void *)tx, .len = n};
	const struct spi_buf rb = {.buf = rx, .len = n};
	const struct spi_buf_set ts = {.buffers = &tb, .count = 1};
	const struct spi_buf_set rs = {.buffers = &rb, .count = 1};

	return spi_transceive(spec.bus, c, &ts, &rs);
}

static void command(uint8_t op)
{
	/* opcode + one 0x00 pad byte: the device ignores DIN = 0 (9.4.1.3 keeps DIN low) */
	uint8_t tx[2] = {op, 0x00}, rx[2];

	xfer(&cfg_slow, tx, rx, sizeof(tx));
	k_busy_wait(4); /* tSDECODE before the next command */
}

static void wreg(uint8_t reg, uint8_t val)
{
	uint8_t tx[3] = {OP_WREG | reg, 0x00, val}, rx[3]; /* 9.5.2.11: 1 register */

	xfer(&cfg_slow, tx, rx, sizeof(tx));
}

static uint8_t rreg(uint8_t reg)
{
	uint8_t tx[3] = {OP_RREG | reg, 0x00, 0x00}, rx[3] = {0}; /* 9.5.2.10 */

	xfer(&cfg_slow, tx, rx, sizeof(tx));
	return rx[2];
}

int ads_init(void (*drdy_handler)(void))
{
	if (!spi_is_ready_dt(&spec) || !gpio_is_ready_dt(&drdy) || !gpio_is_ready_dt(&start) ||
	    !gpio_is_ready_dt(&pwdn)) {
		return -ENODEV;
	}
	/* Power-down first: 11.1 wants digital inputs low until the chip is set up. */
	gpio_pin_configure_dt(&pwdn, GPIO_OUTPUT_ACTIVE);
	gpio_pin_configure_dt(&start, GPIO_OUTPUT_INACTIVE);
	gpio_pin_configure_dt(&drdy, GPIO_INPUT);
	drdy_fn = drdy_handler;
	gpio_init_callback(&drdy_cb, drdy_isr, BIT(drdy.pin));
	gpio_add_callback(drdy.port, &drdy_cb);

	cfg_fast = spec.config;
	cfg_fast.cs.delay = 3; /* us; tSCCS = 4 tCLK (1.95 us) from last SCLK to CS high (7.6) */
	cfg_slow = cfg_fast;
	cfg_slow.frequency = 1000000;
	powered = false;
	return 0;
}

bool ads_is_powered(void)
{
	return powered;
}

uint8_t ads_id(void)
{
	return chip_id;
}

int ads_power_up(void)
{
	gpio_pin_set_dt(&start, 0);
	gpio_pin_set_dt(&pwdn, 0); /* PWDN and RESET high: oscillator and reference start (9.3.2.2) */
	powered = true;
	/* 11.1 / Table 38: wait tPOR = 2^18 tCLK = 128 ms and until VCAP1 (22 uF) > 1.1 V. */
	k_msleep(300);
	command(OP_SDATAC); /* the device powers up in RDATAC, which ignores register commands */
	command(OP_RESET);  /* 9.5.2.3 */
	k_busy_wait(20);    /* 18 tCLK = 9 us to finish the reset */
	command(OP_SDATAC);
	chip_id = rreg(REG_ID);
	/* CONFIG3 (9.6.1.4): PD_REFBUF=1 internal reference on, bit 6 must be 1,
	 * VREF_4V=0 -> 2.4 V (AVDD 3.3 V), PD_RLD=1, and RLDREF_INT:
	 *   0 (0xC4) = bias reference from the RC-filtered AVDD/2 divider on the RLDREF pin (rev C board),
	 *   1 (0xCC) = internal (AVDD+AVSS)/2 (no divider fitted). The external one keeps radio bursts
	 *   on AVDD out of the body bias (docs/science/simulations.md, Q4). */
	wreg(REG_CONFIG3, CONFIG3_VAL);
	k_msleep(300); /* VREFP (10 uF + 100 nF) settling, 9.3.1.6 */
	LOG_INF("ADS1298 ID 0x%02x", chip_id);
	return chip_id == ADS_ID_ADS1298 ? 0 : -ENODEV;
}

void ads_power_down(void)
{
	gpio_pin_interrupt_configure_dt(&drdy, GPIO_INT_DISABLE);
	gpio_pin_set_dt(&start, 0);
	gpio_pin_set_dt(&pwdn, 1); /* 9.3.2.2: all circuitry off; RESET low also clears registers */
	powered = false;
}

bool ads_gain_ok(uint8_t g)
{
	return g == 1 || g == 2 || g == 3 || g == 4 || g == 6 || g == 8 || g == 12;
}

static uint8_t gain_code(uint8_t g)
{
	/* CHnSET GAIN[2:0] (9.6.1.6): 000=6 001=1 010=2 011=3 100=4 101=8 110=12 */
	switch (g) {
	case 1: return 1;
	case 2: return 2;
	case 3: return 3;
	case 4: return 4;
	case 8: return 5;
	case 12: return 6;
	default: return 0;
	}
}

int ads_configure(const struct ads_settings *s)
{
	const uint8_t chset = (uint8_t)(gain_code(s->gain) << 4) | s->mux; /* PDn=0: channel on */
	const struct { uint8_t reg, val; } regs[] = {
		/* CONFIG1 (9.6.1.2): HR=1 high-resolution mode, DAISY_EN=0, CLK_EN=0 (CLK pin not
		 * used), DR=011 -> fMOD/128 = 4 kSPS, DR=100 -> 2 kSPS (HR, 24-bit data both). */
		{REG_CONFIG1, (uint8_t)(0x80 | (s->rate == 4000 ? 0x03 : 0x04))},
		/* CONFIG2 (9.6.1.3): INT_TEST=1 internal test source, TEST_AMP=0 (1 x VREF/2400),
		 * TEST_FREQ=00 (fCLK/2^21 ~ 0.98 Hz square). Bits 7:6 written 0. */
		{REG_CONFIG2, (uint8_t)(s->mux == ADS_MUX_TEST ? 0x10 : 0x00)},
		{REG_CONFIG3, CONFIG3_VAL}, /* see ads_power_up */
		/* LOFF (9.6.1.5): COMP_TH=000 (95 %/5 %), VLEAD_OFF_EN=0 (current source),
		 * ILEAD_OFF=00 (6 nA, least DC error on dry contacts), FLEAD_OFF=11 (DC). */
		{REG_LOFF, (uint8_t)(s->leadoff ? 0x03 : 0x00)},
		{REG_CH1SET + 0, chset}, {REG_CH1SET + 1, chset}, {REG_CH1SET + 2, chset},
		{REG_CH1SET + 3, chset}, {REG_CH1SET + 4, chset}, {REG_CH1SET + 5, chset},
		{REG_CH1SET + 6, chset}, {REG_CH1SET + 7, chset},
		/* RLD_SENSP/N (9.6.1.7/8): only the selected healthy channels drive the bias loop
		 * (docs/science/signal_chain.md section 3: all 16 senses risk instability).
		 * With mask 0 the amplifier just holds the body at RLDREF = mid-supply. */
		{REG_RLD_SENSP, s->rld_mask}, {REG_RLD_SENSN, s->rld_mask},
		/* LOFF_SENSP/N (9.6.1.9/10): lead-off current on all inputs when enabled */
		{REG_LOFF_SENSP, (uint8_t)(s->leadoff ? 0xFF : 0x00)},
		{REG_LOFF_SENSN, (uint8_t)(s->leadoff ? 0xFF : 0x00)},
		{REG_LOFF_FLIP, 0x00}, /* 9.6.1.11: default polarity */
		/* CONFIG4 (9.6.1.17): SINGLE_SHOT=0, PD_LOFF_COMP=1 only with lead-off */
		{REG_CONFIG4, (uint8_t)(s->leadoff ? 0x02 : 0x00)},
		{REG_WCT1, 0x00}, {REG_WCT2, 0x00}, /* 9.6.1.18/19: WCT amplifiers off */
	};
	int errors = 0;

	if (!powered || !ads_gain_ok(s->gain) || (s->rate != 2000 && s->rate != 4000)) {
		return -EINVAL;
	}
	for (size_t i = 0; i < ARRAY_SIZE(regs); i++) {
		wreg(regs[i].reg, regs[i].val);
	}
	for (size_t i = 0; i < ARRAY_SIZE(regs); i++) {
		/* CONFIG3 bit 0 is the read-only RLD_STAT; CONFIG2[7:6] read-back is unspecified */
		uint8_t mask = regs[i].reg == REG_CONFIG3 ? 0xFE : regs[i].reg == REG_CONFIG2 ? 0x3F : 0xFF;

		if ((rreg(regs[i].reg) ^ regs[i].val) & mask) {
			errors++;
		}
	}
	if (errors) {
		LOG_WRN("%d register read-back errors", errors);
	}
	return errors;
}

void ads_stream_start(void)
{
	command(OP_RDATAC); /* 9.5.2.6: frames shift out after each DRDY without an opcode */
	gpio_pin_interrupt_configure_dt(&drdy, GPIO_INT_EDGE_TO_ACTIVE); /* falling edge */
	gpio_pin_set_dt(&start, 1); /* 9.4.1.1: conversions start on START high */
}

void ads_stream_stop(void)
{
	gpio_pin_interrupt_configure_dt(&drdy, GPIO_INT_DISABLE);
	gpio_pin_set_dt(&start, 0);
	k_busy_wait(600); /* let a conversion in flight finish (500 us at 2 kSPS) */
	command(OP_SDATAC); /* 9.5.2.7 */
}

int ads_read_frame(uint8_t frame[ADS_FRAME_BYTES])
{
	static const uint8_t zeros[ADS_FRAME_BYTES]; /* DIN low for the whole read (9.4.1.3) */

	return xfer(&cfg_fast, zeros, frame, ADS_FRAME_BYTES);
}

int ads_set_rld_streaming(uint8_t mask)
{
	/* Registers can't be written in RDATAC mode (9.5.2.6): leave it, write, re-enter.
	 * ~90 us at 1 MHz, done right after a frame read so it ends before the next DRDY. */
	command(OP_SDATAC);
	wreg(REG_RLD_SENSP, mask);
	wreg(REG_RLD_SENSN, mask);
	command(OP_RDATAC);
	return 0;
}

void ads_prepare_off(void)
{
	ads_power_down();
	gpio_pin_configure_dt(&drdy, GPIO_DISCONNECTED); /* DRDY floats with the chip off */
#if defined(CONFIG_PM_DEVICE)
	pm_device_action_run(spec.bus, PM_DEVICE_ACTION_SUSPEND); /* SPI pins -> sleep state */
#endif
}
```

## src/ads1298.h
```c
/* Minimal ADS1298 driver for rev C (one chip, SPI mode 1, internal clock and reference).
 * Section/table numbers refer to TI SBAS459K (docs/datasheets/ads1298.txt). */
#pragma once
#include <stdbool.h>
#include <stdint.h>

#define ADS_FRAME_BYTES 27   /* 24-bit status + 8 x 24-bit channels (9.4.1.3) */
#define ADS_ID_ADS1298  0x92 /* 9.6.1.1: 100 (ADS129x) 10 (fixed) 010 (8 channels) */

enum ads_mux { ADS_MUX_NORMAL = 0x0, ADS_MUX_SHORT = 0x1, ADS_MUX_TEST = 0x5 }; /* CHnSET[2:0] */

struct ads_settings {
	uint16_t rate;     /* 2000 or 4000 SPS (HR mode) */
	uint8_t gain;      /* 1, 2, 3, 4, 6, 8, 12 */
	uint8_t mux;       /* enum ads_mux, all channels */
	bool leadoff;      /* DC lead-off, 6 nA, comparators at 95 % */
	uint8_t rld_mask;  /* channels whose P and N inputs feed the bias (RLD) amplifier */
};

int ads_init(void (*drdy_handler)(void));  /* GPIO + SPI; leaves the chip powered down */
int ads_power_up(void);                    /* PWDN high, reset, ID check, reference on */
void ads_power_down(void);                 /* START low, PWDN/RESET low */
bool ads_is_powered(void);
uint8_t ads_id(void);
bool ads_gain_ok(uint8_t gain);
int ads_configure(const struct ads_settings *s); /* stopped only; returns # read-back errors */
void ads_stream_start(void);               /* RDATAC, START high, DRDY interrupt on */
void ads_stream_stop(void);                /* DRDY interrupt off, START low, SDATAC */
int ads_read_frame(uint8_t frame[ADS_FRAME_BYTES]); /* in RDATAC, after DRDY fell */
int ads_set_rld_streaming(uint8_t mask);   /* between two frames while streaming */
void ads_prepare_off(void);                /* pins to low-power state before System OFF */
```

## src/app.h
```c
/* Shared state between the modules of the neurband rev C firmware. */
#pragma once
#include <stdbool.h>
#include <stddef.h>
#include <stdint.h>

#define FW_VERSION "c0.1"
/* Status string buffer incl. NUL. A typical status is ~200 chars, the worst case ~246
 * (all counters at 10 digits, "last=err:..."); notify needs <= MTU-3 = 244, read has no limit. */
#define STATUS_BUF_LEN 256

enum stream_fmt { FMT_I16 = 0, FMT_I24 = 1 };

struct nb_cfg {
	uint16_t rate;    /* ADS rate for the raw 24-bit stream (FMT_I24): 2000 or 4000 */
	uint8_t gain;     /* PGA gain 1, 2, 3, 4, 6, 8, 12 */
	uint8_t fmt;      /* enum stream_fmt. FMT_I16 always acquires at 4 kSPS, streams 2 kSPS */
	uint8_t hp_idx;   /* FMT_I16 high-pass: 0 = 20 Hz, 1 = 40 Hz */
	uint8_t mux;      /* enum ads_mux */
	bool leadoff;
	uint8_t rld_mask; /* RLD sense set (P and N of each selected channel) */
};
extern struct nb_cfg cfg; /* main.c; only changed while acquisition is stopped */

static inline uint16_t cfg_ads_rate(const struct nb_cfg *c)
{
	return c->fmt == FMT_I16 ? 4000 : c->rate;
}

/* acq.c: DRDY -> frame ring -> DSP/packetizer -> packet queue */
int acq_init(void);
int acq_start(uint16_t max_payload);
void acq_stop(void);
bool acq_running(void);
void acq_marker(void);
uint8_t acq_rld_active(void);
uint32_t acq_overruns(void);
uint32_t acq_drops(void);
uint32_t acq_status_errors(void);
int acq_get_packet(uint8_t *buf, uint16_t *len); /* blocks; for the BLE TX thread */
uint32_t acq_sample_now(void); /* stream sample index of the newest ADS conversion (ISR-safe) */
void acq_queue_packet(uint8_t type, uint8_t n, uint32_t sample, uint8_t flags, uint8_t lp,
		      uint8_t ln, const void *body, uint16_t body_len);

/* imu.c: LSM6DSL, runs only while streaming */
int imu_init(void);
bool imu_present(void);
void imu_start(void);
void imu_stop(void);

/* ble.c */
int ble_init(void);
bool ble_connected(void);
uint16_t ble_max_payload(void);
void ble_set_status(const char *s);
void ble_link_info(char *buf, size_t len);

/* main.c */
void app_command(const char *cmd, size_t len); /* from the control characteristic */
void app_on_connect(void);
void app_on_disconnect(void);
bool app_charging(void);
bool app_low_battery(void);
uint16_t app_vbat_mv(void);
```

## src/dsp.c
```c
/* 4 kSPS -> 2 kSPS antialiasing decimator + high-pass + 0.25 uV/count scaling.
 *
 * 1. DC tracker (int64, ~0.31 Hz first order): removes the electrode offset before any float
 *    math, so float32 only carries the AC part (rounding < 2 nV rms, tools/gen_filters.py).
 *    Its value is also the per-channel raw-DC diagnostic.
 * 2. 127-tap Kaiser FIR (beta 5.65, 925 Hz cutoff, < 0.01 dB to 850 Hz, > 62 dB from 1 kHz,
 *    15.75 ms delay), evaluated only on every second input (decimation by 2).
 * 3. 4th-order Butterworth high-pass at 20 or 40 Hz (two DF2T biquads) at 2 kSPS.
 * 4. Scale to 0.25 uV/count, saturate to int16 (+-8.19 mV) and flag clips.
 * Cost ~70 multiply-adds per channel per output sample: ~1.2 M MAC/s for 8 channels. */
#include "dsp.h"

#include <string.h>
#include <zephyr/sys/util.h>

#include "filter_coefs.h"

#define DC_SHIFT 11 /* fc = 4000 / (2 pi 2^11) = 0.31 Hz */
#define DC_FRAC 8
#define EXTRA 32    /* FIR history slack: one memmove per 32 samples keeps the window contiguous */

static struct {
	int64_t dc;                 /* codes << DC_FRAC */
	float hist[FIR_TAPS + EXTRA]; /* window = hist[pos .. pos + FIR_TAPS - 1], newest first */
	float z[2][2];
} ch[8];
static int pos;
static bool seeded;
static float scale;
static const float (*hp)[5];

void dsp_reset(uint8_t gain, uint8_t hp_idx)
{
	memset(ch, 0, sizeof(ch));
	pos = EXTRA;
	seeded = false;
	/* code -> volts: 2 VREF / gain / 2^24 = 4.8 / gain / 2^24 (9.6.1.6, 2.4 V reference) */
	scale = (4.8f / (float)gain / 16777216.0f) / (DSP_UV_PER_COUNT * 1e-6f);
	hp = hp_coefs[hp_idx < ARRAY_SIZE(hp_freqs) ? hp_idx : 0];
}

void dsp_dc(int32_t dc[8])
{
	for (int c = 0; c < 8; c++) {
		dc[c] = (int32_t)(ch[c].dc >> DC_FRAC);
	}
}

bool dsp_push(const int32_t x[8], uint32_t idx, bool filter, int16_t out[8], uint8_t *clip)
{
	if (!seeded) { /* start the tracker at the first sample: no huge start-up step */
		for (int c = 0; c < 8; c++) {
			ch[c].dc = (int64_t)x[c] << DC_FRAC;
		}
		seeded = true;
	}
	if (pos == 0) { /* slide the newest FIR_TAPS - 1 samples back to the end */
		for (int c = 0; c < 8; c++) {
			memmove(&ch[c].hist[EXTRA + 1], &ch[c].hist[0], (FIR_TAPS - 1) * sizeof(float));
		}
		pos = EXTRA + 1;
	}
	pos--; /* newest sample at hist[pos] */
	for (int c = 0; c < 8; c++) {
		int64_t xq = (int64_t)x[c] << DC_FRAC;

		ch[c].dc += (xq - ch[c].dc) >> DC_SHIFT;
		float v = (float)(x[c] - (int32_t)(ch[c].dc >> DC_FRAC));

		ch[c].hist[pos] = v;
	}
	if (!filter || !(idx & 1)) {
		return false;
	}
	*clip = 0;
	for (int c = 0; c < 8; c++) {
		const float *w = &ch[c].hist[pos];
		float acc = fir_taps[FIR_TAPS / 2] * w[FIR_TAPS / 2];

		for (int k = 0; k < FIR_TAPS / 2; k++) { /* symmetric taps */
			acc += fir_taps[k] * (w[k] + w[FIR_TAPS - 1 - k]);
		}
		for (int s = 0; s < 2; s++) {
			const float *b = hp[s];
			float o = b[0] * acc + ch[c].z[s][0];

			ch[c].z[s][0] = b[1] * acc - b[3] * o + ch[c].z[s][1];
			ch[c].z[s][1] = b[2] * acc - b[4] * o;
			acc = o;
		}
		float y = acc * scale;

		if (y > 32767.0f) {
			out[c] = 32767;
			*clip |= 1u << c;
		} else if (y < -32768.0f) {
			out[c] = -32768;
			*clip |= 1u << c;
		} else {
			out[c] = (int16_t)(y + (y >= 0 ? 0.5f : -0.5f));
		}
	}
	return true;
}
```

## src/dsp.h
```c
/* Streaming DSP for the default 2 kSPS / 16-bit stream (docs/firmware_c.md "DSP"). */
#pragma once
#include <stdbool.h>
#include <stdint.h>

#define DSP_UV_PER_COUNT 0.25f

void dsp_reset(uint8_t gain, uint8_t hp_idx);
/* Feed one 4 kSPS frame (codes). Updates the DC tracker. Returns true when a 2 kSPS output
 * sample was produced (odd input indices) and writes it to out (0.25 uV/count). */
bool dsp_push(const int32_t x[8], uint32_t idx, bool filter, int16_t out[8], uint8_t *clip);
void dsp_dc(int32_t dc[8]); /* current DC estimate per channel, codes */
```
